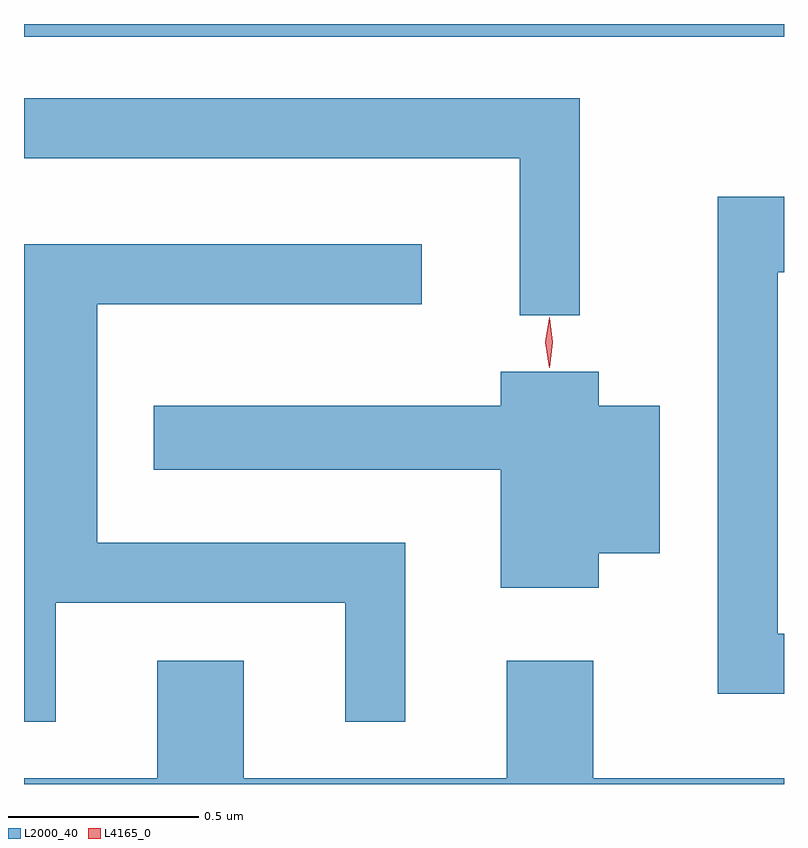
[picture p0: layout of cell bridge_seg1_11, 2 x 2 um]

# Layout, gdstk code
import gdstk
lib = gdstk.Library(unit=1e-6, precision=1e-09)
def R(c, l, rs):  # rectangles x0, y0, x1, y1
    for r in rs: c.add(gdstk.rectangle(r[:2], r[2:], *l))
def P(c, l, *ps):  # polygons
    for p in ps: c.add(gdstk.Polygon(p, *l))
L2000_40 = (2000, 40)
L4165_0 = (4165, 0)

bridge_seg1_11 = lib.new_cell('bridge_seg1_11')
R(bridge_seg1_11, L2000_40, [(1511.051,897.356,1513.051,897.389)])
P(bridge_seg1_11, L2000_40, [(1512.514,897.194),(1511.051,897.194),(1511.051,897.036),(1512.356,897.036),(1512.356,896.623),(1512.514,896.623)],
  [(1513.051,895.784),(1513.034,895.784),(1513.034,896.736),(1513.051,896.736),(1513.051,896.934),(1512.876,896.934),(1512.876,895.626),(1513.051,895.626)],
  [(1511.134,895.866),(1511.896,895.866),(1511.896,895.553),(1512.054,895.553),(1512.054,896.024),(1511.244,896.024),(1511.244,896.651),(1512.098,896.651),(1512.098,896.809),(1511.051,896.809),(1511.051,895.553),(1511.134,895.553)],
  [(1512.564,895.996),(1512.724,895.996),(1512.724,896.384),(1512.564,896.384),(1512.564,896.474),(1512.306,896.474),(1512.306,896.384),(1511.393,896.384),(1511.393,896.216),(1512.306,896.216),(1512.306,895.906),(1512.564,895.906)],
  [(1513.051,895.404),(1512.549,895.404),(1512.549,895.714),(1512.321,895.714),(1512.321,895.404),(1511.629,895.404),(1511.629,895.714),(1511.401,895.714),(1511.401,895.404),(1511.051,895.404),(1511.051,895.389),(1513.051,895.389)])
P(bridge_seg1_11, L4165_0, [(1512.433,896.485),(1512.433,896.485),(1512.423,896.551),(1512.433,896.616),(1512.433,896.617),(1512.434,896.616),(1512.443,896.551),(1512.434,896.485)])

lib.write_gds('bridge_seg1_11.gds')
